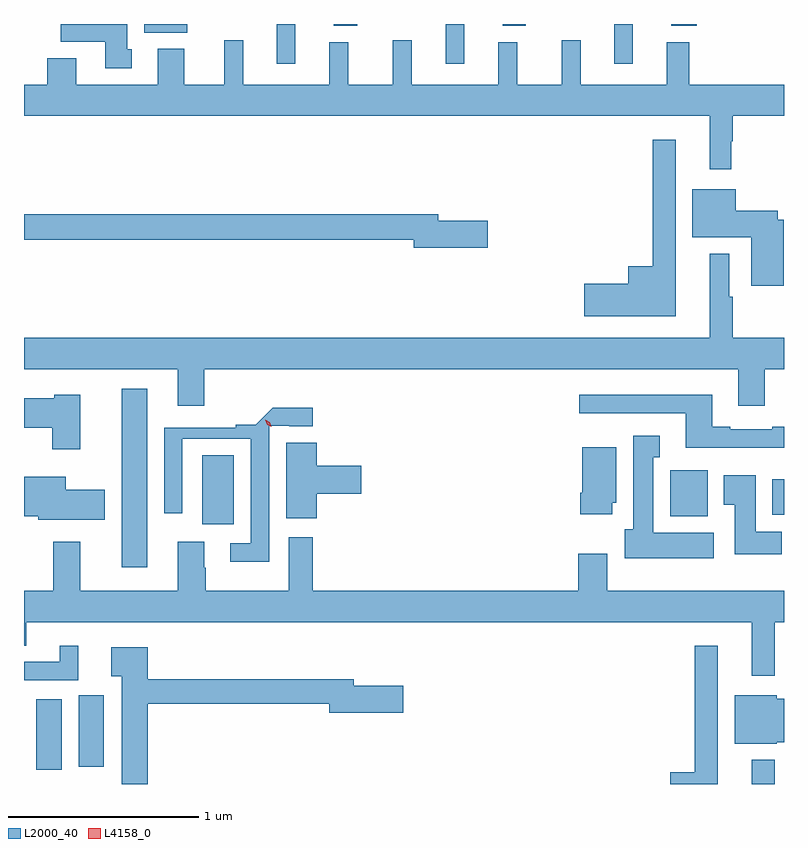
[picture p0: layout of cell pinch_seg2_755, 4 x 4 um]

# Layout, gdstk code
import gdstk
lib = gdstk.Library(unit=1e-6, precision=1e-09)
def R(c, l, rs):  # rectangles x0, y0, x1, y1
    for r in rs: c.add(gdstk.rectangle(r[:2], r[2:], *l))
def A(c, l, x, y, w, h, nx, ny, dx, dy):  # array of equal rectangles
    R(c, l, [(x+i*dx, y+j*dy, x+i*dx+w, y+j*dy+h) for i in range(nx) for j in range(ny)])
def P(c, l, *ps):  # polygons
    for p in ps: c.add(gdstk.Polygon(p, *l))
L2000_40 = (2000, 40)
L4158_0 = (4158, 0)

pinch_seg2_755 = lib.new_cell('pinch_seg2_755')
A(pinch_seg2_755, L2000_40, 671.672, 659.898, 0.097, 0.21, 3, 1, 0.888, 0)
R(pinch_seg2_755, L2000_40, [(674.171,656.108,674.293,656.236), (670.406,656.182,670.54,656.554), (670.628,656.199,670.762,656.574), (670.856,657.249,670.99,658.189), (671.279,657.474,671.446,657.839), (673.742,657.518,673.939,657.76), (674.279,657.524,674.341,657.712), (670.973,660.062,671.2,660.108), (671.972,660.098,672.094,660.108), (672.86,660.098,672.982,660.108), (673.748,660.098,673.883,660.108)])
P(pinch_seg2_755, L2000_40, [(670.909,659.976),(670.885,659.976),(670.885,660.108),(670.534,660.108),(670.534,660.014),(670.769,660.014),(670.769,659.874),(670.909,659.874)],
  [(674.063,659.492),(674.071,659.492),(674.071,659.624),(674.341,659.624),(674.341,659.788),(673.841,659.788),(673.841,660.013),(673.724,660.013),(673.724,659.788),(673.271,659.788),(673.271,660.022),(673.171,660.022),(673.171,659.788),(672.936,659.788),(672.936,660.013),(672.836,660.013),(672.836,659.788),(672.383,659.788),(672.383,660.022),(672.283,660.022),(672.283,659.788),(672.048,659.788),(672.048,660.013),(671.948,660.013),(671.948,659.788),(671.495,659.788),(671.495,660.022),(671.396,660.022),(671.396,659.788),(671.185,659.788),(671.185,659.977),(671.045,659.977),(671.045,659.788),(670.615,659.788),(670.615,659.929),(670.463,659.929),(670.463,659.788),(670.341,659.788),(670.341,659.624),(673.949,659.624),(673.949,659.343),(674.063,659.343)],
  [(673.771,659.5),(673.65,659.5),(673.65,658.834),(673.52,658.834),(673.52,658.742),(673.29,658.742),(673.29,658.571),(673.771,658.571)],
  [(674.339,659.079),(674.308,659.079),(674.308,659.125),(674.086,659.125),(674.086,659.239),(673.859,659.239),(673.859,658.985),(674.168,658.985),(674.168,658.731),(674.339,658.731)],
  [(672.781,659.072),(672.52,659.072),(672.52,659.108),(670.341,659.108),(670.341,658.972),(672.392,658.972),(672.392,658.93),(672.781,658.93)],
  [(671.29,658.292),(674.099,658.292),(674.099,658.098),(674.239,658.098),(674.239,658.292),(674.341,658.292),(674.341,658.456),(674.071,658.456),(674.071,658.673),(674.053,658.673),(674.053,658.9),(673.949,658.9),(673.949,658.456),(670.341,658.456),(670.341,658.292),(671.15,658.292),(671.15,658.098),(671.29,658.098)],
  [(670.636,658.156),(670.5,658.156),(670.5,658.138),(670.341,658.138),(670.341,657.982),(670.489,657.982),(670.489,657.87),(670.636,657.87)],
  [(674.341,657.988),(674.279,657.988),(674.279,657.975),(674.059,657.975),(674.059,657.988),(673.963,657.988),(673.963,658.156),(673.263,658.156),(673.263,658.059),(673.823,658.059),(673.823,657.878),(674.341,657.878)],
  [(671.631,657.993),(671.738,657.993),(671.738,657.99),(671.86,657.99),(671.86,658.088),(671.651,658.088),(671.561,657.998),(671.455,657.998),(671.455,657.982),(671.079,657.982),(671.079,657.534),(671.175,657.534),(671.175,657.924),(671.535,657.924),(671.535,657.375),(671.427,657.375),(671.427,657.278),(671.631,657.278)],
  [(673.972,657.43),(673.654,657.43),(673.654,657.827),(673.687,657.827),(673.687,657.94),(673.547,657.94),(673.547,657.45),(673.502,657.45),(673.502,657.296),(673.972,657.296)],
  [(671.882,657.635),(672.115,657.635),(672.115,657.782),(671.882,657.782),(671.882,657.905),(671.72,657.905),(671.72,657.507),(671.882,657.507)],
  [(673.438,657.588),(673.459,657.588),(673.459,657.88),(673.28,657.88),(673.28,657.64),(673.268,657.64),(673.268,657.528),(673.438,657.528)],
  [(674.33,657.436),(674.191,657.436),(674.191,657.733),(674.024,657.733),(674.024,657.577),(674.081,657.577),(674.081,657.318),(674.33,657.318)],
  [(670.765,657.658),(670.561,657.658),(670.561,657.724),(670.341,657.724),(670.341,657.518),(670.416,657.518),(670.416,657.5),(670.765,657.5)],
  [(674.293,656.96),(674.341,656.96),(674.341,657.124),(673.411,657.124),(673.411,657.319),(673.259,657.319),(673.259,657.124),(671.861,657.124),(671.861,657.406),(671.735,657.406),(671.735,657.124),(671.298,657.124),(671.298,657.245),(671.29,657.245),(671.29,657.382),(671.15,657.382),(671.15,657.124),(670.636,657.124),(670.636,657.382),(670.496,657.382),(670.496,657.124),(670.341,657.124),(670.341,656.836),(670.354,656.836),(670.354,656.96),(674.171,656.96),(674.171,656.679),(674.293,656.679)],
  [(670.627,656.836),(670.529,656.836),(670.529,656.751),(670.341,656.751),(670.341,656.655),(670.627,656.655)],
  [(673.993,656.836),(673.872,656.836),(673.872,656.17),(673.742,656.17),(673.742,656.108),(673.993,656.108)],
  [(670.991,656.53),(671.948,656.53),(671.948,656.483),(672.337,656.483),(672.337,656.625),(672.076,656.625),(672.076,656.659),(670.991,656.659),(670.991,656.827),(670.8,656.827),(670.8,656.675),(670.856,656.675),(670.856,656.108),(670.991,656.108)],
  [(674.304,656.327),(674.341,656.327),(674.341,656.557),(674.304,656.557),(674.304,656.575),(674.081,656.575),(674.081,656.321),(674.304,656.321)])
P(pinch_seg2_755, L4158_0, [(671.643,657.987),(671.62,657.999),(671.612,658.024),(671.612,658.025),(671.612,658.025),(671.635,658.012),(671.643,657.988),(671.643,657.987)])

lib.write_gds('pinch_seg2_755.gds')
